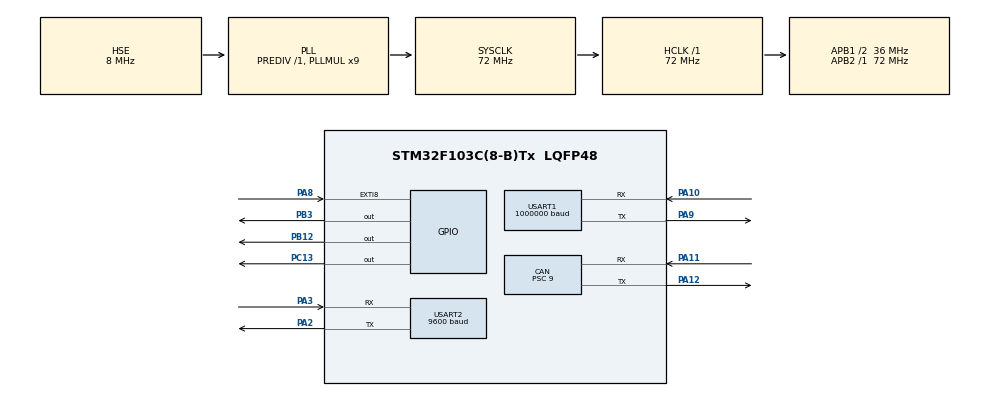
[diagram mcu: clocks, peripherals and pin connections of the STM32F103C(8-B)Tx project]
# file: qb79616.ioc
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CAN.BS1=CAN_BS1_5TQ
CAN.BS2=CAN_BS2_2TQ
CAN.CalculateBaudRate=500000
CAN.CalculateTimeBit=2000
CAN.CalculateTimeQuantum=250.0
CAN.Mode=CAN_MODE_NORMAL
CAN.Prescaler=9
Mcu.Family=STM32F1
Mcu.Name=STM32F103C(8-B)Tx
Mcu.Package=LQFP48
NVIC.CAN1_RX1_IRQn=true\:0\:0\:false\:false\:true\:true\:true\:true
NVIC.EXTI9_5_IRQn=true\:0\:0\:false\:false\:true\:true\:true\:true
NVIC.PriorityGroup=NVIC_PRIORITYGROUP_4
NVIC.TIM1_UP_IRQn=true\:15\:0\:true\:false\:true\:false\:true\:true
NVIC.TimeBase=TIM1_UP_IRQn
NVIC.TimeBaseIP=TIM1
NVIC.USART1_IRQn=true\:0\:0\:false\:false\:true\:true\:true\:true
NVIC.USB_LP_CAN1_RX0_IRQn=true\:0\:0\:false\:false\:true\:true\:true\:true
PA10.Mode=Asynchronous
PA10.Signal=USART1_RX
PA11.Mode=CAN_Activate
PA11.Signal=CAN_RX
PA12.Mode=CAN_Activate
PA12.Signal=CAN_TX
PA13.Mode=Serial_Wire
PA13.Signal=SYS_JTMS-SWDIO
PA14.Mode=Serial_Wire
PA14.Signal=SYS_JTCK-SWCLK
PA2.Mode=Asynchronous
PA2.Signal=USART2_TX
PA3.Mode=Asynchronous
PA3.Signal=USART2_RX
PA8.GPIO_ModeDefaultEXTI=GPIO_MODE_IT_FALLING
PA8.GPIO_PuPd=GPIO_PULLUP
PA8.Signal=GPXTI8
PA9.Mode=Asynchronous
PA9.Signal=USART1_TX
PB12.Signal=GPIO_Output
PB3.Signal=GPIO_Output
PC13-TAMPER-RTC.Signal=GPIO_Output
PD0-OSC_IN.Mode=HSE-External-Oscillator
PD0-OSC_IN.Signal=RCC_OSC_IN
PD1-OSC_OUT.Mode=HSE-External-Oscillator
PD1-OSC_OUT.Signal=RCC_OSC_OUT
ProjectManager.HeapSize=0x200
ProjectManager.StackSize=0x400
ProjectManager.TargetToolchain=STM32CubeIDE
RCC.AHBFreq_Value=72000000
RCC.APB1CLKDivider=RCC_HCLK_DIV2
RCC.APB1Freq_Value=36000000
RCC.APB1TimFreq_Value=72000000
RCC.APB2Freq_Value=72000000
RCC.APB2TimFreq_Value=72000000
RCC.HCLKFreq_Value=72000000
RCC.PLLMUL=RCC_PLL_MUL9
RCC.PLLSourceVirtual=RCC_PLLSOURCE_HSE
RCC.SYSCLKFreq_VALUE=72000000
RCC.SYSCLKSource=RCC_SYSCLKSOURCE_PLLCLK
RCC.USBFreq_Value=72000000
USART1.BaudRate=1000000
USART1.VirtualMode=VM_ASYNC
USART2.BaudRate=9600
USART2.VirtualMode=VM_ASYNC
VP_SYS_VS_tim1.Mode=TIM1
board=custom

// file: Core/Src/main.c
/* USER CODE BEGIN Header */
/**
 ******************************************************************************
 * @file           : main.c
 * @brief          : Main program body
 ******************************************************************************
 * @attention
 *
 * Copyright (c) 2025 STMicroelectronics.
 * All rights reserved.
 *
 * This software is licensed under terms that can be found in the LICENSE file
 * in the root directory of this software component.
 * If no LICENSE file comes with this software, it is provided AS-IS..
 *
 ******************************************************************************
 */
/* USER CODE END Header */
#include "main.h"

/* USER CODE BEGIN Includes */

#include <stdint.h>
#include <stdio.h>
#include <stdlib.h>
#include <string.h>
#include "BMS_Config.h"
#include "BMS_tests.h"
#include "queue.h"
#include "semphr.h"
#include "event_groups.h"
#include "GUI.h"
#include "Faults.h"
#include "Voltages.h"
#include "Temperatures.h"
#include "Balancing.h"
/* USER CODE END Includes */

CAN_HandleTypeDef hcan;

UART_HandleTypeDef huart1;
UART_HandleTypeDef huart2;

/* USER CODE BEGIN PV */
//-----------------------------------------
// External Fault Variables
//-----------------------------------------
extern uint8_t bridge_faultSummary;

extern uint8_t bridge_faultPWR;
extern uint8_t bridge_faultSYS;
extern uint8_t bridge_faultREG;
extern uint8_t bridge_faultCOMM1;
extern uint8_t bridge_faultCOMM2;

//-----------------------------------------
//Define Tasks Handler to hold task ID
//-----------------------------------------
//TaskHandle_t defaultTaskHandle;

TaskHandle_t BmsInitTaskHandle;
TaskHandle_t BmsCanTxTaskHandle;
TaskHandle_t BmsMonitorTaskHandle;
TaskHandle_t BmsCommandTaskHandle;
TaskHandle_t BmsCellVoltageTaskHandle;
TaskHandle_t BmsReadTempTaskHandle;
TaskHandle_t BmsFaultTaskHandle;
TaskHandle_t BmsBalancingTaskHandle;
TaskHandle_t BmsGUITaskHandle;
TaskHandle_t BmsChargerTaskHandle;

//----------------
//RTOS EVENTGroup Bits
//----------------
const EventBits_t BMS_INIT_DONE_BIT = (1 << 0);

EventGroupHandle_t BMS_EventGroup;

//----------------
//RTOS Queues
//----------------

QueueHandle_t bmsCanTXQueue;
QueueHandle_t bmsCmdQueue;
//QueueHandle_t bmsMeasurmentsQueue;
QueueHandle_t bmsVoltageQueue;
QueueHandle_t bmsTempQueue;

//----------------
//RTOS MUTEX
//----------------
#ifdef EVENT_GROUP
SemaphoreHandle_t UART_MUTEX;
#endif
SemaphoreHandle_t CAN_MUTEX;

//Private user Variables
uint8_t received_data = 0;
uint8_t Buffer[5];

uint8_t init_done = 0;

float battery_volt = 0;

UBaseType_t uxHighWaterMark;
extern EventGroupHandle_t uartEventGroup;

//------------------------
//    CAN Variables
//-----------------------
CAN_TxHeaderTypeDef BMS_CAN_TxHandler;
CAN_TxHeaderTypeDef BMS_CHAR_CAN_TxHandler;
CAN_RxHeaderTypeDef BMS_CAN_RxHandler;

uint32_t TxMailbox;
uint8_t BMS_CAN_TxData[8];
BMS_CAN_Frame_t BMS_CAN_RxData;

//------------------------
//    CHARGER Variables
//-----------------------
volatile uint8_t charger_fault = 0;
volatile TickType_t charger_last_rx_time;

/* USER CODE END PV */

void SystemClock_Config(void);
static void MX_GPIO_Init(void);
static void MX_USART1_UART_Init(void);
static void MX_USART2_UART_Init(void);
static void MX_CAN_Init(void);
/* USER CODE BEGIN PFP */

//Declare Tasks Entery point
//void StartDefaultTask(void const * argument);

void BMS_Init(void const * argument);

//A Task that periodically pull Cell voltage and Temperature reading
void BMS_MonitorTask(void const * argument);
//Receives Command in a Queue and Sends Commands to Daisy chains on demand
void BMS_CommadTask(void const * argument);
//Sends a read voltage cmd to BMS queue to read cell voltages
void BMS_CellVoltageTask(void const * argument);
//Sends a read voltage cmd to BMS queue to read cell temp
void BMS_ReadTempTask(void const * argument);

//Activated by an Event group to trigger shutdown circuit and Handle fault
void BMS_FaultTask(void const * argument);

void BMS_BalancingTask(void const * argument);

void BMS_CanTX_Task(void const * argument);

void BMS_ChargerTask(void const * argument);

void BMS_GUI_Task(void const * argument);

/* USER CODE END PFP */

/* USER CODE BEGIN 0 */

//function that converts the data according to the type
//Funtion outputs the value x100 to take only 2 numbers after the decimal point
int16_t BMS_data_convert(BMS_DataType_t type, int data)
{
	switch(type)
	{
	case BMS_DATA_VOLTAGE:
		data = (int16_t)((float)(data) * VOLT_CONV * 100);
		break;
	case BMS_DATA_TEMPERATURE:
		data = (int16_t)(((float)(data) * VLSB_GPIO) * 100);
		break;
	case BMS_CHARGER:
		data = (int16_t)((float)(data) / 10);
		break;
	}

	return data;
}

/* USER CODE END 0 */

int main(void)
{

  /* MCU Configuration--------------------------------------------------------*/

  /* Reset of all peripherals, Initializes the Flash interface and the Systick. */
  HAL_Init();

  /* Configure the system clock */
  SystemClock_Config();

  /* Initialize all configured peripherals */
  MX_GPIO_Init();
  MX_USART1_UART_Init();
  MX_USART2_UART_Init();
  MX_CAN_Init();
  /* USER CODE BEGIN 2 */

	BMS_Can_Init();

	//==================Define EventGroups===================//
	BMS_EventGroup = xEventGroupCreate();
	if (BMS_EventGroup == NULL)
	{
		/* Handle error: insufficient heap */
		while(1);
	}
	/* Create Event Group */
	uartEventGroup = xEventGroupCreate();
	faultEventGroup = xEventGroupCreate();
	//==================Define Queues===================//

	bmsCmdQueue = xQueueCreate(5, sizeof(BMS_Request_t));
	//	bmsMeasurmentsQueue = xQueueCreate(SLAVEBOARDS * 7, sizeof(BMS_Queue_Measurement_t));
	bmsVoltageQueue = xQueueCreate(SLAVEBOARDS * 3, sizeof(BMS_Queue_Measurement_t));
	bmsTempQueue = xQueueCreate(SLAVEBOARDS * 7, sizeof(BMS_Queue_Measurement_t));
	bmsCanTXQueue = xQueueCreate(10, sizeof(BMS_CAN_Queue_Message_t));

	//==================Define MUTEX===================//
	UART_MUTEX = xSemaphoreCreateMutex();
	CAN_MUTEX  = xSemaphoreCreateMutex();

	//==================Define Tasks===================//
	//xTaskCreate((TaskFunction_t) StartDefaultTask, "defaultTask", 128, NULL,(UBaseType_t) 0, &defaultTaskHandle);
	xTaskCreate((TaskFunction_t) BMS_Init, "BMS_Init", 80, NULL,(UBaseType_t) 5, &BmsInitTaskHandle);
	xTaskCreate((TaskFunction_t) BMS_CanTX_Task, "BMS_CanTX_Task", 128, NULL,(UBaseType_t) 5, &BmsCanTxTaskHandle);
	xTaskCreate((TaskFunction_t) BMS_MonitorTask, "BMS_MonitorTask", 128, NULL,(UBaseType_t) 3, &BmsMonitorTaskHandle);
	xTaskCreate((TaskFunction_t) BMS_CommadTask, "BMS_CommadTask", 128, NULL,(UBaseType_t) 3, &BmsCommandTaskHandle);
	xTaskCreate((TaskFunction_t) BMS_ReadTempTask, "BMS_Read_Temp_Task", 128, NULL,(UBaseType_t) 2, &BmsReadTempTaskHandle);
	xTaskCreate((TaskFunction_t) BMS_CellVoltageTask, "BMS_CellVoltage_Task", 128, NULL,(UBaseType_t) 2, &BmsCellVoltageTaskHandle);
	xTaskCreate((TaskFunction_t) BMS_FaultTask, "BMS_FaultTask", 80, NULL,(UBaseType_t) 4, &BmsFaultTaskHandle);
	//xTaskCreate((TaskFunction_t) BMS_ChargerTask, "BMS_ChargerTask", 128, NULL,(UBaseType_t) 2, &BmsChargerTaskHandle);

	xTaskCreate((TaskFunction_t) BMS_BalancingTask, "BMS_BalancingTask", 256, NULL,(UBaseType_t) 4, &BmsBalancingTaskHandle);
#ifdef GUI
	xTaskCreate((TaskFunction_t) BMS_GUI_Task, "BMS_GUITask", 128, NULL,(UBaseType_t) 2, &BmsGUITaskHandle);
#endif

	//=============Start the Scheduler================//
	vTaskStartScheduler();
  /* USER CODE END 2 */

  /* Infinite loop */
	while (1)
	{

	}
}

void SystemClock_Config(void)
{
  RCC_OscInitTypeDef RCC_OscInitStruct = {0};
  RCC_ClkInitTypeDef RCC_ClkInitStruct = {0};

  /** Initializes the RCC Oscillators according to the specified parameters
  * in the RCC_OscInitTypeDef structure.
  */
  RCC_OscInitStruct.OscillatorType = RCC_OSCILLATORTYPE_HSE;
  RCC_OscInitStruct.HSEState = RCC_HSE_ON;
  RCC_OscInitStruct.HSEPredivValue = RCC_HSE_PREDIV_DIV1;
  RCC_OscInitStruct.HSIState = RCC_HSI_ON;
  RCC_OscInitStruct.PLL.PLLState = RCC_PLL_ON;
  RCC_OscInitStruct.PLL.PLLSource = RCC_PLLSOURCE_HSE;
  RCC_OscInitStruct.PLL.PLLMUL = RCC_PLL_MUL9;
  if (HAL_RCC_OscConfig(&RCC_OscInitStruct) != HAL_OK)
  {
    Error_Handler();
  }

  /** Initializes the CPU, AHB and APB buses clocks
  */
  RCC_ClkInitStruct.ClockType = RCC_CLOCKTYPE_HCLK|RCC_CLOCKTYPE_SYSCLK
                              |RCC_CLOCKTYPE_PCLK1|RCC_CLOCKTYPE_PCLK2;
  RCC_ClkInitStruct.SYSCLKSource = RCC_SYSCLKSOURCE_PLLCLK;
  RCC_ClkInitStruct.AHBCLKDivider = RCC_SYSCLK_DIV1;
  RCC_ClkInitStruct.APB1CLKDivider = RCC_HCLK_DIV2;
  RCC_ClkInitStruct.APB2CLKDivider = RCC_HCLK_DIV1;

  if (HAL_RCC_ClockConfig(&RCC_ClkInitStruct, FLASH_LATENCY_2) != HAL_OK)
  {
    Error_Handler();
  }
}

static void MX_CAN_Init(void)
{

  hcan.Instance = CAN1;
  hcan.Init.Prescaler = 9;
  hcan.Init.Mode = CAN_MODE_NORMAL;
  hcan.Init.SyncJumpWidth = CAN_SJW_1TQ;
  hcan.Init.TimeSeg1 = CAN_BS1_5TQ;
  hcan.Init.TimeSeg2 = CAN_BS2_2TQ;
  hcan.Init.TimeTriggeredMode = DISABLE;
  hcan.Init.AutoBusOff = DISABLE;
  hcan.Init.AutoWakeUp = DISABLE;
  hcan.Init.AutoRetransmission = DISABLE;
  hcan.Init.ReceiveFifoLocked = DISABLE;
  hcan.Init.TransmitFifoPriority = DISABLE;
  if (HAL_CAN_Init(&hcan) != HAL_OK)
  {
    Error_Handler();
  }

}

static void MX_USART1_UART_Init(void)
{

  huart1.Instance = USART1;
  huart1.Init.BaudRate = 1000000;
  huart1.Init.WordLength = UART_WORDLENGTH_8B;
  huart1.Init.StopBits = UART_STOPBITS_1;
  huart1.Init.Parity = UART_PARITY_NONE;
  huart1.Init.Mode = UART_MODE_TX_RX;
  huart1.Init.HwFlowCtl = UART_HWCONTROL_NONE;
  huart1.Init.OverSampling = UART_OVERSAMPLING_16;
  if (HAL_UART_Init(&huart1) != HAL_OK)
  {
    Error_Handler();
  }

}

static void MX_USART2_UART_Init(void)
{

  huart2.Instance = USART2;
  huart2.Init.BaudRate = 9600;
  huart2.Init.WordLength = UART_WORDLENGTH_8B;
  huart2.Init.StopBits = UART_STOPBITS_1;
  huart2.Init.Parity = UART_PARITY_NONE;
  huart2.Init.Mode = UART_MODE_TX_RX;
  huart2.Init.HwFlowCtl = UART_HWCONTROL_NONE;
  huart2.Init.OverSampling = UART_OVERSAMPLING_16;
  if (HAL_UART_Init(&huart2) != HAL_OK)
  {
    Error_Handler();
  }

}

static void MX_GPIO_Init(void)
{
  GPIO_InitTypeDef GPIO_InitStruct = {0};

  /* GPIO Ports Clock Enable */
  __HAL_RCC_GPIOC_CLK_ENABLE();
  __HAL_RCC_GPIOD_CLK_ENABLE();
  __HAL_RCC_GPIOA_CLK_ENABLE();
  __HAL_RCC_GPIOB_CLK_ENABLE();

  /*Configure GPIO pin Output Level */
  HAL_GPIO_WritePin(GPIOC, GPIO_PIN_13, GPIO_PIN_RESET);

  /*Configure GPIO pin Output Level */
  HAL_GPIO_WritePin(GPIOB, GPIO_PIN_12|GPIO_PIN_3, GPIO_PIN_RESET);

  /*Configure GPIO pin : PC13 */
  GPIO_InitStruct.Pin = GPIO_PIN_13;
  GPIO_InitStruct.Mode = GPIO_MODE_OUTPUT_PP;
  GPIO_InitStruct.Pull = GPIO_NOPULL;
  GPIO_InitStruct.Speed = GPIO_SPEED_FREQ_LOW;
  HAL_GPIO_Init(GPIOC, &GPIO_InitStruct);

  /*Configure GPIO pins : PB12 PB3 */
  GPIO_InitStruct.Pin = GPIO_PIN_12|GPIO_PIN_3;
  GPIO_InitStruct.Mode = GPIO_MODE_OUTPUT_PP;
  GPIO_InitStruct.Pull = GPIO_NOPULL;
  GPIO_InitStruct.Speed = GPIO_SPEED_FREQ_LOW;
  HAL_GPIO_Init(GPIOB, &GPIO_InitStruct);

  /*Configure GPIO pin : PA8 */
  GPIO_InitStruct.Pin = GPIO_PIN_8;
  GPIO_InitStruct.Mode = GPIO_MODE_IT_FALLING;
  GPIO_InitStruct.Pull = GPIO_PULLUP;
  HAL_GPIO_Init(GPIOA, &GPIO_InitStruct);

  /* EXTI interrupt init*/
  HAL_NVIC_SetPriority(EXTI9_5_IRQn, 0, 0);
  HAL_NVIC_EnableIRQ(EXTI9_5_IRQn);

}

/* USER CODE BEGIN 4 */

void StartDefaultTask(void const * argument)
{
	/* USER CODE BEGIN 5 */
	for(;;)
	{

		// osDelay(1);
	}
	/* USER CODE END 5 */
}

void BMS_Init(void const * argument)
{
	//=============================
	//Initializing Daisy Chain Communication
	//=============================

	Wake79600_RTOS();

#ifdef CHAIN
	Bridge_AutoAddress();
#elif defined(RING)
	AutoAddress_Ring();
	init_done = 1;
#endif

	for(uint8_t i = 1; i < TOTALBOARDS; i++)
	{

		if(configure_OVUV(i, 16) != 1)
		{
			//error
			while(1);
		}
		if(configure_OTUT(i, 0) != 1)
		{
			//error
			while(1);
		}
	}

	Bridge_FaultInit();
	Stack_FaultInit();

	vTaskDelay(10);

	//=============================
	//Initializing Daisy Chain ADCs
	//=============================
	writeReg(0, BQ79616_ADC_CTRL1, 0x06, 1, FRMWRT_STK_W);
	vTaskDelay(10);

	uint8_t dev_stat;
	for(uint8_t i = 1; i < TOTALBOARDS; i++)
	{
		readReg(i, DEV_STAT, &dev_stat, 1, 200, FRMWRT_SGL_R);
		if((dev_stat& 0x01) == 0){
			//error
			while(1);
		}
	}

	xEventGroupSetBits(BMS_EventGroup, BMS_INIT_DONE_BIT);

	vTaskDelete(NULL);

}

#ifdef GUI
void BMS_GUI_Task(void const * argument)
{
	xEventGroupWaitBits(BMS_EventGroup, BMS_INIT_DONE_BIT, pdFALSE, pdTRUE, portMAX_DELAY);
	for(;;)
	{

		Send_GUI_Reading();

		HAL_GPIO_WritePin(GPIOC, GPIO_PIN_13, GPIO_PIN_SET);
		vTaskDelay(500);
		HAL_GPIO_WritePin(GPIOC, GPIO_PIN_13, GPIO_PIN_RESET);
		vTaskDelay(500);
	}
}

#endif
//A Task that periodically pull Cell voltage and Temperature reading
void BMS_MonitorTask(void const * argument)
{

	BMS_Queue_Measurement_t buffer;
	//todo Make timeout and Handling to this timeout
	xEventGroupWaitBits(BMS_EventGroup, BMS_INIT_DONE_BIT, pdFALSE, pdTRUE, portMAX_DELAY);
	for(;;)
	{
		int raw_slave_volt = 0;
		int raw_battary_voltage = 0;

		xSemaphoreTake(UART_MUTEX, portMAX_DELAY);
		Bridge_CheckFaults();
		Stack_CheckFaultSummary();
		//Send_GUI_Reading();
		{
			//buffer = test2();
			//buffer.type = BMS_DATA_VOLTAGE;

			//Fetching the Voltage Value of Each Slave
			for(uint8_t i = 1; i <= SLAVEBOARDS; i++)
			{
				raw_slave_volt = 0;
				if(readSlaveVoltage(i, ACTIVE_CELLS, &raw_slave_volt) != BMS_OK)
				{
					//error
				}
				raw_battary_voltage += raw_slave_volt;

				//adding Voltage reading in queue

				buffer.slave_id = i;
				buffer.value = BMS_data_convert(BMS_DATA_VOLTAGE, raw_slave_volt);
				xQueueSendToBack(bmsVoltageQueue, &buffer, (TickType_t)10);
				//				xQueueSendToBack(bmsMeasurmentsQueue, &buffer, (TickType_t)10);
				xTaskNotify(BmsCellVoltageTaskHandle, NOTIFY_BMS_GOT_VOLT, eSetBits);
			}

			//calculating Battery voltage
			buffer.slave_id = BATTERYVOLT_ID;
			buffer.value = BMS_data_convert(BMS_DATA_VOLTAGE, raw_battary_voltage);
			xQueueSendToBack(bmsVoltageQueue, &buffer, (TickType_t)10);
			//			xQueueSendToBack(bmsMeasurmentsQueue, &buffer, (TickType_t)10);
			xTaskNotify(BmsCellVoltageTaskHandle, NOTIFY_BMS_GOT_VOLT, eSetBits);
		}
		xSemaphoreGive(UART_MUTEX);
		xTaskNotify(BmsCellVoltageTaskHandle, NOTIFY_BMS_GOT_VOLT, eSetBits);

		vTaskDelay(pdMS_TO_TICKS(10)); //delay for Commandtask to take mutex

		xSemaphoreTake(UART_MUTEX, portMAX_DELAY);
		{
			//			buffer.type = BMS_DATA_TEMPERATURE;
			for(uint8_t i = 1; i <= SLAVEBOARDS; i++)
			{
				buffer.slave_id = i;
				uint32_t temperautre_sum = 0;
				uint8_t j;
				for(j = 1; j <= 4; j++)
				{
					uint16_t temperature_temp = readGPIOVoltage(i, j, &(GpioReadings[i-1][j-1]));
					temperautre_sum += temperature_temp;

				}
				buffer.value = BMS_data_convert(BMS_DATA_TEMPERATURE, temperautre_sum/j);
				xQueueSendToBack(bmsTempQueue, &buffer, (TickType_t)10);
				vTaskDelay(pdMS_TO_TICKS(5));
				xTaskNotify(BmsReadTempTaskHandle, NOTIFY_BMS_GOT_TEMP, eSetBits);
			}
		}

		xSemaphoreGive(UART_MUTEX);
//		vTaskDelay(pdMS_TO_TICKS(1000));
	}
}
//Receives Command in a Queue and Sends Commands to Daisy chains on demand
void BMS_CommadTask(void const * argument)
{
	BMS_Request_t req;
	uint8_t cmd_res = 0;
	//todo Make timeout and Handling to this timeout
	xEventGroupWaitBits(BMS_EventGroup, BMS_INIT_DONE_BIT, pdFALSE, pdTRUE, portMAX_DELAY);
	for(;;)
	{
		if(xQueueReceive(bmsCmdQueue, &req, portMAX_DELAY) == pdTRUE)
		{
			xSemaphoreTake(UART_MUTEX, portMAX_DELAY);
			switch(req.cmd)
			{
			case CMD_READ_BRIDGE_FS:
				//fault_summary = Send to bridge to read fault summary
				xTaskNotify(req.requester, NOTIFY_BMS_GOT_FS, eSetBits);
				Bridge_CheckFaults();
				Stack_CheckFaultSummary();
				//				Send_GUI_Reading ();
				cmd_res = 0;
				break;

			case CMD_READ_GPIO_ADC:

				break;
			case CMD_READ_CELL_VOLTAGES:
				break;
			}
			xSemaphoreGive(UART_MUTEX);
			xTaskNotify(req.requester, cmd_res, eSetBits);
		}
	}
}

//Sends a read voltage cmd to BMS queue to read cell voltages
void BMS_CellVoltageTask(void const * argument)
{
	BMS_Request_t req;
	req.cmd = CMD_READ_CELL_VOLTAGES;
	req.requester = xTaskGetCurrentTaskHandle();
	BMS_Queue_Measurement_t volt_buffer;
	BMS_CAN_Queue_Message_t can_buffer;
	can_buffer.type = BMS_DATA_VOLTAGE;
	memset(&can_buffer.Data, 0, sizeof(can_buffer.Data));

	//todo Make timeout and Handling to this timeout
	xEventGroupWaitBits(BMS_EventGroup, BMS_INIT_DONE_BIT, pdFALSE, pdTRUE, portMAX_DELAY);

	for(;;)
	{

		if(xQueueReceive(bmsVoltageQueue, &volt_buffer, (TickType_t)10) == pdTRUE)
		{

			if(volt_buffer.slave_id == BATTERYVOLT_ID)
			{
				battery_volt = ((float)(volt_buffer.value) / 100);
			}

			can_buffer.Data.frame.slave[(volt_buffer.slave_id - 1) % CAN_DATA_PER_FRAME] = volt_buffer.value;

			if(((volt_buffer.slave_id % CAN_DATA_PER_FRAME) == 0))
			{
				can_buffer.first_slave_id = volt_buffer.slave_id - CAN_DATA_PER_FRAME + 1;
				xQueueSendToBack(bmsCanTXQueue, &can_buffer, (TickType_t)10);
				memset(&can_buffer.Data, 0, sizeof(can_buffer.Data));
			}

		}
		else
		{
			//todo Optimize wait delay to be dynamic to the number of slaves
			xTaskNotifyWait(0, NOTIFY_BMS_GOT_VOLT, NULL, pdMS_TO_TICKS(portMAX_DELAY));
		}

	}
}

//Sends a read voltage cmd to BMS queue to read cell temp
void BMS_ReadTempTask(void const * argument)
{
	BMS_Request_t req;
	req.cmd = CMD_READ_GPIO_ADC;
	req.requester = xTaskGetCurrentTaskHandle();
	//todo make it GPIO_generic
	req.BOARD_NUM = 1;
	req.GPIO_NUM = 8;

	BMS_Queue_Measurement_t temperature_buffer;
	BMS_CAN_Queue_Message_t can_buffer;
	can_buffer.type = BMS_DATA_TEMPERATURE;
	memset(&can_buffer.Data, 0, sizeof(can_buffer.Data));
	uint8_t prev_first_ID = 0;

	//todo Make timeout and Handling to this timeout
	xEventGroupWaitBits(BMS_EventGroup, BMS_INIT_DONE_BIT, pdFALSE, pdTRUE, portMAX_DELAY);

	for(;;)
	{

		//todo Optimize wait delay to be dynamic to the number of slaves
		//wait for MSG to arrive
		xTaskNotifyWait(0, NOTIFY_BMS_GOT_TEMP, NULL, pdMS_TO_TICKS(portMAX_DELAY));

		if(xQueueReceive(bmsTempQueue, &temperature_buffer, (TickType_t)10) == pdTRUE)
		{

			if((temperature_buffer.slave_id % CAN_DATA_PER_FRAME == 1) &&  (temperature_buffer.slave_id != prev_first_ID))
			{
				if(prev_first_ID != 0)
				{
					can_buffer.first_slave_id = temperature_buffer.slave_id - CAN_DATA_PER_FRAME + 1;
					xQueueSendToBack(bmsCanTXQueue, &can_buffer, (TickType_t)10);
					memset(&can_buffer.Data, 0, sizeof(can_buffer.Data));
				}
				can_buffer.Data.frame.slave[(temperature_buffer.slave_id - 1) % CAN_DATA_PER_FRAME] = temperature_buffer.value;
				prev_first_ID = temperature_buffer.slave_id;
			}
			else if(temperature_buffer.slave_id % CAN_DATA_PER_FRAME != 1)
			{
				can_buffer.Data.frame.slave[(temperature_buffer.slave_id - 1) % CAN_DATA_PER_FRAME] = temperature_buffer.value;
			}
			else if((temperature_buffer.slave_id % CAN_DATA_PER_FRAME == 1) && (temperature_buffer.slave_id == prev_first_ID))
			{
				can_buffer.first_slave_id = prev_first_ID;
				xQueueSendToBack(bmsCanTXQueue, &can_buffer, (TickType_t)10);
				memset(&can_buffer.Data, 0, sizeof(can_buffer.Data));
				can_buffer.Data.frame.slave[(temperature_buffer.slave_id - 1) % CAN_DATA_PER_FRAME] = temperature_buffer.value;
				prev_first_ID = temperature_buffer.slave_id;
			}

		}
		else
		{
			//indicate message is not received
			//todo Optimize wait delay to be dynamic to the number of slaves
			xTaskNotifyWait(0, NOTIFY_BMS_GOT_TEMP, NULL, pdMS_TO_TICKS(portMAX_DELAY));
		}

	}
}

void BMS_CanTX_Task(void const * argument)
{
	BMS_CAN_Queue_Message_t CAN_Queue_Buffer;
	BMS_CAN_TxHandler.RTR = CAN_RTR_DATA;           //Set RTR bit to 0(sends data)
	BMS_CAN_TxHandler.DLC = CAN_MSG_SIZE;           //Data sent is CAN_MSG_SIZE bytes in BMS_Config.h

	xEventGroupWaitBits(BMS_EventGroup, BMS_INIT_DONE_BIT, pdFALSE, pdTRUE, portMAX_DELAY);

	for(;;)
	{
		if(xQueueReceive(bmsCanTXQueue, &CAN_Queue_Buffer, (TickType_t)10) == pdTRUE)
		{

			if(CAN_Queue_Buffer.type == BMS_DATA_VOLTAGE)
			{
				BMS_CAN_TxHandler.StdId = CAN_VOLT_ID + ((CAN_Queue_Buffer.first_slave_id - 1) / CAN_DATA_PER_FRAME);
				BMS_CAN_TxHandler.ExtId = 0x00;                 //Message ID extension for CAN extend
				BMS_CAN_TxHandler.IDE = CAN_ID_STD;             //CAN ID is 11 bits//Message ID
			}
			else if(CAN_Queue_Buffer.type == BMS_DATA_TEMPERATURE)
			{
				BMS_CAN_TxHandler.StdId = CAN_TEMP_ID + ((CAN_Queue_Buffer.first_slave_id - 1) / CAN_DATA_PER_FRAME);                //Message ID
				BMS_CAN_TxHandler.ExtId = 0x00;                 //Message ID extension for CAN extend
				BMS_CAN_TxHandler.IDE = CAN_ID_STD;             //CAN ID is 11 bits
			}
			else if(CAN_Queue_Buffer.type == BMS_CHARGER)
			{
				BMS_CAN_TxHandler.StdId = 0x00;               //Message ID
				BMS_CAN_TxHandler.ExtId = CAN_BMS_TO_CH;      //Message ID extension for CAN extend
				BMS_CAN_TxHandler.IDE = CAN_ID_EXT;             //CAN ID is 11 bits
			}

			xSemaphoreTake(CAN_MUTEX, portMAX_DELAY);
			if( HAL_CAN_AddTxMessage(&hcan, &BMS_CAN_TxHandler, (uint8_t*)&(CAN_Queue_Buffer.Data), &TxMailbox) != HAL_OK)
			{
				//error
				HAL_UART_Transmit(&huart2, (uint8_t*)"CAN Failed", 10, HAL_MAX_DELAY);
			}
			xSemaphoreGive(CAN_MUTEX);
			vTaskDelay(pdMS_TO_TICKS(10)); //delay for Charger task to take mutex

			//			vTaskDelay(pdMS_TO_TICKS(50));
		}
	}

}

void BMS_ChargerTask(void const * argument)
{

	BMS_CAN_Frame_t tx_frame = {0};
	BMS_CHAR_CAN_TxHandler.RTR = CAN_RTR_DATA;           //Set RTR bit to 0(sends data)
	BMS_CHAR_CAN_TxHandler.DLC = CAN_MSG_SIZE;           //Data sent is CAN_MSG_SIZE bytes in BMS_Config.h
	BMS_CHAR_CAN_TxHandler.StdId = 0x00;               //Message ID
	BMS_CHAR_CAN_TxHandler.ExtId = CAN_BMS_TO_CH;      //Message ID extension for CAN extend
	BMS_CHAR_CAN_TxHandler.IDE = CAN_ID_EXT;             //CAN ID is 11 bits
	xEventGroupWaitBits(BMS_EventGroup, BMS_INIT_DONE_BIT, pdFALSE, pdTRUE, portMAX_DELAY);
	int i = 0;
	while(1)
	{

		//Wait for EXTI or current sensor outputs zero
		while(i != 0)
		{

		}
		charger_fault = 0;
		i++;

		while(1)
		{

			//Check charger communication timeout
			if((xTaskGetTickCount() - charger_last_rx_time) > pdMS_TO_TICKS(5000))
			{
				charger_fault = 1;
			}

			//Charger fault detected
			memset(&tx_frame,0,sizeof(tx_frame));

			if(charger_fault)
			{

				tx_frame.bytes[0] = 0;
				tx_frame.bytes[1] = 0;
				tx_frame.bytes[2] = 0;
				tx_frame.bytes[3] = 0;
				tx_frame.bytes[4] = CHAR_STOP;

				//send stop frame
				xSemaphoreTake(CAN_MUTEX, portMAX_DELAY);
				if( HAL_CAN_AddTxMessage(&hcan, &BMS_CHAR_CAN_TxHandler, (uint8_t*)&(tx_frame), &TxMailbox) != HAL_OK)
				{
					//error
					HAL_UART_Transmit(&huart2, (uint8_t*)"CAN Failed", 10, HAL_MAX_DELAY);
				}
				xSemaphoreGive(CAN_MUTEX);
				vTaskDelay(pdMS_TO_TICKS(10)); //delay for can task to take mutex

				break;
			}
			else
			{
				tx_frame.bytes[0] = CHAR_MAX_VOLT_High;
				tx_frame.bytes[1] = CHAR_MAX_VOLT_low;
				tx_frame.bytes[2] = CHAR_MAX_AMP_High;
				tx_frame.bytes[3] = CHAR_MAX_AMP_low;
				tx_frame.bytes[4] = CHAR_START;
				xSemaphoreTake(CAN_MUTEX, portMAX_DELAY);
				if( HAL_CAN_AddTxMessage(&hcan, &BMS_CHAR_CAN_TxHandler, (uint8_t*)&(tx_frame), &TxMailbox) != HAL_OK)
				{
					//error
					HAL_UART_Transmit(&huart2, (uint8_t*)"CAN Failed", 10, HAL_MAX_DELAY);
				}
				xSemaphoreGive(CAN_MUTEX);
				vTaskDelay(pdMS_TO_TICKS(10)); //delay for can task to take mutex
			}

			vTaskDelay(pdMS_TO_TICKS(1000));

		}

	}
}

void BMS_FaultTask(void const * argument)
{
	while(1)
	{
		xEventGroupWaitBits(
				faultEventGroup,
				FAULT_EVENT_BIT,
				pdTRUE,
				pdFALSE,
				portMAX_DELAY
		);

		//		Bridge_CheckFaults();
		//		Stack_CheckFaultSummary();
		HAL_GPIO_WritePin(GPIOB, GPIO_PIN_12, GPIO_PIN_SET);
		vTaskDelay(1000);
		HAL_GPIO_WritePin(GPIOB, GPIO_PIN_12, GPIO_PIN_RESET);
		vTaskDelay(1000);
		Send_GUI_Reading ();

	}

	BMS_Request_t req;
	req.requester = xTaskGetCurrentTaskHandle();
	req.cmd = CMD_READ_BRIDGE_FS;
	uint8_t cmd_res = 0;
	//todo Make timeout and Handling to this timeout
	xEventGroupWaitBits(BMS_EventGroup, BMS_INIT_DONE_BIT, pdFALSE, pdTRUE, portMAX_DELAY);
	for(;;)
	{
		xQueueSendToBack(bmsCmdQueue, &req, (TickType_t)10);
		xTaskNotifyWait(0, NOTIFY_BMS_GOT_FS, NULL, pdMS_TO_TICKS(portMAX_DELAY));
		//read fault_summary variable and handle it
		vTaskDelay(pdMS_TO_TICKS(500));
	}
}

void BMS_BalancingTask(void const * argument)
{
    // waits for BMS_Init to finish
    xEventGroupWaitBits(BMS_EventGroup, BMS_INIT_DONE_BIT, pdFALSE, pdTRUE, portMAX_DELAY);

    // one-time setup
    xSemaphoreTake(UART_MUTEX, portMAX_DELAY);
    balancing_init();
    xSemaphoreGive(UART_MUTEX);

    for (;;)
    {
        vTaskDelay(pdMS_TO_TICKS(BAL_LOOP_DELAY_MS));  // 60 second delay

        xSemaphoreTake(UART_MUTEX, portMAX_DELAY);
        balancing_update();
        xSemaphoreGive(UART_MUTEX);
    }
}

void HAL_CAN_RxFifo0MsgPendingCallback(CAN_HandleTypeDef *hcan)
{
	BaseType_t xHigherPriorityTaskWoken = pdFALSE;

	//Not check on ID, As Can filter only receives charger frames
	if (HAL_CAN_GetRxMessage(hcan, CAN_RX_FIFO0, &BMS_CAN_RxHandler, BMS_CAN_RxData.bytes) == HAL_OK)
	{
		// Charger broadcast received
		charger_last_rx_time = xTaskGetTickCountFromISR();

		if((BMS_CAN_RxData.bytes[4] & 0b1000) == 0) //charger is ON
		{

			if((BMS_CAN_RxData.bytes[4] & 0b0111) != 0) //Fault Occurred
			{
				charger_fault = 1;
			}
		}

		return; // Error
	}

}

/* USER CODE END 4 */

void HAL_TIM_PeriodElapsedCallback(TIM_HandleTypeDef *htim)
{
  if (htim->Instance == TIM1) {
    HAL_IncTick();
  }
}

void Error_Handler(void)
{
	__disable_irq();
	while (1)
	{
	}
}
